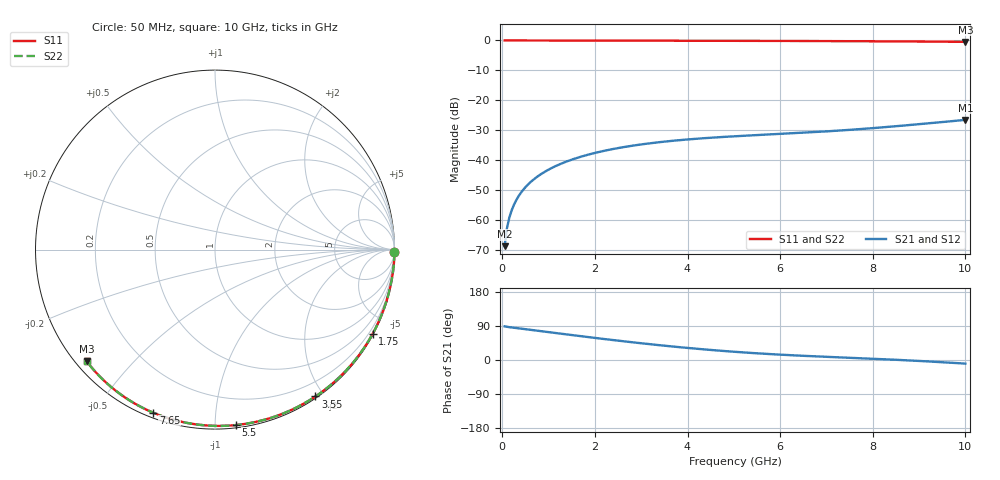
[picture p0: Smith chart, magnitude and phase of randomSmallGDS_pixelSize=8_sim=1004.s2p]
! freq	dB(S11)	phase(S11)	dB(S12)	phase(S12)
!  dB(S21)	phase(S21)	dB(S22)	phase(S22)
!S-par simulation data
#  GHz  S  DB  R 50
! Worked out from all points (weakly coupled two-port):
!   200 points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, 50 MHz to 10 GHz, reference 50 ohm
!   highest |S21| = -26.58 dB at 10 GHz (marker M1); lowest = -68.9 dB at 50 MHz (marker M2)
!   lowest |S11| = -0.5 dB at 10 GHz (marker M3), VSWR 37.55, Z = 1.52 - j18.7 ohm
!   |S11| at or under -10 dB: nowhere
!   |S22| runs from -0.5 to 0.0 dB; largest |S21 - S12| = 0
!   S11 on the Smith chart (normalised r, x): 50 MHz: open; 1.75 GHz: 0.04, -3.99; 3.55 GHz: 0.02, -1.90; 5.5 GHz: 0.02, -1.13; 7.65 GHz: 0.02, -0.69; 10 GHz: 0.03, -0.37
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0.05  -0.00 -0.8  -68.85 88.7  -68.85 88.7  -0.00 -0.8
0.1  -0.00 -1.6  -62.88 87.6  -62.88 87.6  -0.00 -1.6
0.15  -0.00 -2.5  -59.41 86.7  -59.41 86.7  -0.00 -2.5
0.2  -0.00 -3.3  -56.95 85.9  -56.95 85.9  -0.00 -3.3
0.25  -0.00 -4.1  -55.05 85.1  -55.05 85.1  -0.00 -4.1
0.35  -0.00 -5.7  -52.17 83.6  -52.17 83.6  -0.00 -5.7
0.5  -0.01 -8.2  -49.11 81.3  -49.11 81.3  -0.01 -8.2
0.7  -0.01 -11.4  -46.24 78.3  -46.24 78.3  -0.01 -11.4
1  -0.02 -16.2  -43.23 73.6  -43.23 73.6  -0.02 -16.2
1.35  -0.03 -21.8  -40.74 68.2  -40.74 68.2  -0.03 -21.8
1.75  -0.04 -28.1  -38.67 62.0  -38.67 62.0  -0.04 -28.1
2.5  -0.05 -39.8  -36.02 51.0  -36.02 51.0  -0.05 -39.8
3.4  -0.07 -53.4  -34.03 39.0  -34.03 39.0  -0.07 -53.4
3.55  -0.08 -55.6  -33.78 37.1  -33.78 37.1  -0.08 -55.6
4.3  -0.10 -66.5  -32.77 28.6  -32.77 28.6  -0.10 -66.5
5.05  -0.12 -77.0  -32.04 21.3  -32.04 21.3  -0.12 -77.0
5.5  -0.14 -83.1  -31.67 17.6  -31.67 17.6  -0.14 -83.1
6.7  -0.19 -98.8  -30.71 9.9  -30.71 9.9  -0.19 -98.8
7.65  -0.25 -110.7  -29.76 5.1  -29.76 5.1  -0.25 -110.7
8.35  -0.30 -119.3  -28.90 1.4  -28.90 1.4  -0.30 -119.3
9.2  -0.38 -129.5  -27.74 -3.8  -27.74 -3.8  -0.38 -129.5
10  -0.46 -139.0  -26.58 -9.5  -26.58 -9.5  -0.46 -139.0
